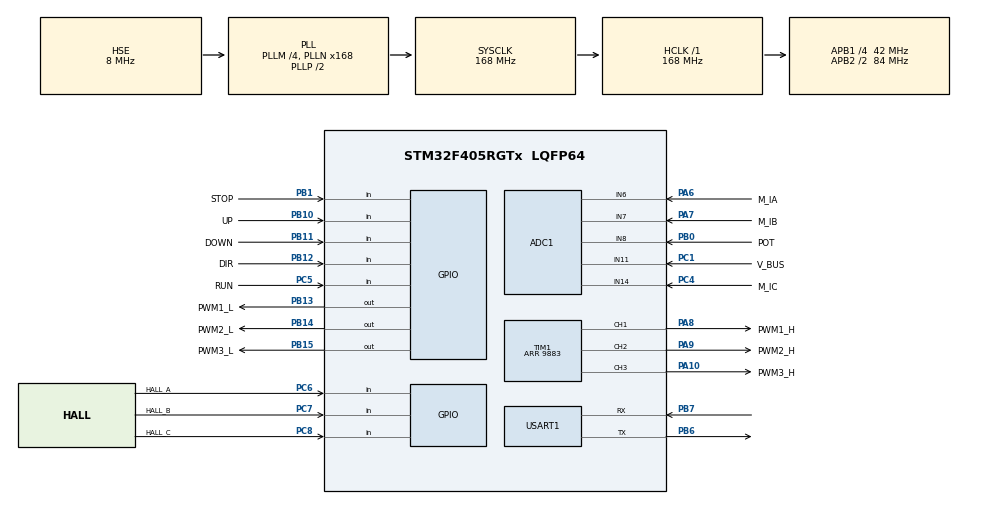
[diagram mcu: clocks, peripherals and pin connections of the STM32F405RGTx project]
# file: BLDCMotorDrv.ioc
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ADC1.Channel-10\#ChannelRegularConversion=ADC_CHANNEL_14
ADC1.Channel-6\#ChannelRegularConversion=ADC_CHANNEL_6
ADC1.Channel-7\#ChannelRegularConversion=ADC_CHANNEL_7
ADC1.Channel-8\#ChannelRegularConversion=ADC_CHANNEL_8
ADC1.Channel-9\#ChannelRegularConversion=ADC_CHANNEL_11
ADC1.ContinuousConvMode=ENABLE
ADC1.DMAContinuousRequests=ENABLE
ADC1.NbrOfConversion=5
ADC1.NbrOfConversionFlag=1
ADC1.Rank-10\#ChannelRegularConversion=5
ADC1.Rank-6\#ChannelRegularConversion=1
ADC1.Rank-7\#ChannelRegularConversion=2
ADC1.Rank-8\#ChannelRegularConversion=3
ADC1.Rank-9\#ChannelRegularConversion=4
ADC1.SamplingTime-10\#ChannelRegularConversion=ADC_SAMPLETIME_3CYCLES
ADC1.SamplingTime-6\#ChannelRegularConversion=ADC_SAMPLETIME_3CYCLES
ADC1.SamplingTime-7\#ChannelRegularConversion=ADC_SAMPLETIME_3CYCLES
ADC1.SamplingTime-8\#ChannelRegularConversion=ADC_SAMPLETIME_3CYCLES
ADC1.SamplingTime-9\#ChannelRegularConversion=ADC_SAMPLETIME_3CYCLES
ADC1.ScanConvMode=ENABLE
ADC1.master=1
Dma.ADC1.0.Direction=DMA_PERIPH_TO_MEMORY
Dma.ADC1.0.FIFOMode=DMA_FIFOMODE_DISABLE
Dma.ADC1.0.Instance=DMA2_Stream0
Dma.ADC1.0.MemDataAlignment=DMA_MDATAALIGN_HALFWORD
Dma.ADC1.0.MemInc=DMA_MINC_ENABLE
Dma.ADC1.0.Mode=DMA_CIRCULAR
Dma.ADC1.0.PeriphDataAlignment=DMA_PDATAALIGN_HALFWORD
Dma.ADC1.0.PeriphInc=DMA_PINC_DISABLE
Dma.ADC1.0.Priority=DMA_PRIORITY_HIGH
Dma.Request0=ADC1
Mcu.Family=STM32F4
Mcu.Name=STM32F405RGTx
Mcu.Package=LQFP64
NVIC.ADC_IRQn=true\:0\:0\:false\:false\:true\:true\:true
NVIC.DMA2_Stream0_IRQn=true\:2\:0\:true\:false\:true\:false\:true
NVIC.PriorityGroup=NVIC_PRIORITYGROUP_4
NVIC.TIM1_UP_TIM10_IRQn=true\:0\:0\:false\:false\:true\:true\:true
PA10.GPIO_Label=PWM3_H
PA10.GPIO_Speed=GPIO_SPEED_FREQ_HIGH
PA10.Signal=S_TIM1_CH3
PA13.Mode=Serial_Wire
PA13.Signal=SYS_JTMS-SWDIO
PA14.Mode=Serial_Wire
PA14.Signal=SYS_JTCK-SWCLK
PA6.GPIO_Label=M_IA
PA6.Signal=ADCx_IN6
PA7.GPIO_Label=M_IB
PA7.Signal=ADCx_IN7
PA8.GPIO_Label=PWM1_H
PA8.GPIO_Speed=GPIO_SPEED_FREQ_HIGH
PA8.Signal=S_TIM1_CH1
PA9.GPIO_Label=PWM2_H
PA9.GPIO_Speed=GPIO_SPEED_FREQ_HIGH
PA9.Signal=S_TIM1_CH2
PB0.GPIO_Label=POT
PB0.Signal=ADCx_IN8
PB1.GPIO_Label=STOP
PB1.GPIO_PuPd=GPIO_PULLUP
PB1.Signal=GPIO_Input
PB10.GPIO_Label=UP
PB10.GPIO_PuPd=GPIO_PULLUP
PB10.Signal=GPIO_Input
PB11.GPIO_Label=DOWN
PB11.GPIO_PuPd=GPIO_PULLUP
PB11.Signal=GPIO_Input
PB12.GPIO_Label=DIR
PB12.GPIO_PuPd=GPIO_PULLUP
PB12.Signal=GPIO_Input
PB13.GPIO_Label=PWM1_L
PB13.GPIO_Speed=GPIO_SPEED_FREQ_HIGH
PB13.Signal=GPIO_Output
PB14.GPIO_Label=PWM2_L
PB14.GPIO_Speed=GPIO_SPEED_FREQ_HIGH
PB14.Signal=GPIO_Output
PB15.GPIO_Label=PWM3_L
PB15.GPIO_Speed=GPIO_SPEED_FREQ_HIGH
PB15.Signal=GPIO_Output
PB6.Mode=Asynchronous
PB6.Signal=USART1_TX
PB7.Mode=Asynchronous
PB7.Signal=USART1_RX
PC1.GPIO_Label=V_BUS
PC1.Signal=ADCx_IN11
PC4.GPIO_Label=M_IC
PC4.Signal=ADCx_IN14
PC5.GPIO_Label=RUN
PC5.GPIO_PuPd=GPIO_PULLUP
PC5.Signal=GPIO_Input
PC6.GPIO_Label=HALL_A
PC6.GPIO_PuPd=GPIO_PULLUP
PC6.Signal=GPIO_Input
PC7.GPIO_Label=HALL_B
PC7.GPIO_PuPd=GPIO_PULLUP
PC7.Signal=GPIO_Input
PC8.GPIO_Label=HALL_C
PC8.GPIO_PuPd=GPIO_PULLUP
PC8.Signal=GPIO_Input
PH0-OSC_IN.Mode=HSE-External-Oscillator
PH0-OSC_IN.Signal=RCC_OSC_IN
PH1-OSC_OUT.Mode=HSE-External-Oscillator
PH1-OSC_OUT.Signal=RCC_OSC_OUT
ProjectManager.HeapSize=0x200
ProjectManager.StackSize=0x400
ProjectManager.TargetToolchain=Makefile
RCC.48MHZClocksFreq_Value=84000000
RCC.AHBFreq_Value=168000000
RCC.APB1CLKDivider=RCC_HCLK_DIV4
RCC.APB1Freq_Value=42000000
RCC.APB1TimFreq_Value=84000000
RCC.APB2CLKDivider=RCC_HCLK_DIV2
RCC.APB2Freq_Value=84000000
RCC.APB2TimFreq_Value=168000000
RCC.CortexFreq_Value=168000000
RCC.EnbaleCSS=true
RCC.HCLKFreq_Value=168000000
RCC.HSE_VALUE=8000000
RCC.HSI_VALUE=16000000
RCC.LSE_VALUE=32768
RCC.PLLM=4
RCC.PLLN=168
RCC.PLLSourceVirtual=RCC_PLLSOURCE_HSE
RCC.SYSCLKFreq_VALUE=168000000
RCC.SYSCLKSource=RCC_SYSCLKSOURCE_PLLCLK
RCC.VCOOutputFreq_Value=336000000
SH.ADCx_IN11.0=ADC1_IN11,IN11
SH.ADCx_IN14.0=ADC1_IN14,IN14
SH.ADCx_IN6.0=ADC1_IN6,IN6
SH.ADCx_IN7.0=ADC1_IN7,IN7
SH.ADCx_IN8.0=ADC1_IN8,IN8
SH.S_TIM1_CH1.0=TIM1_CH1,PWM Generation1 CH1
SH.S_TIM1_CH2.0=TIM1_CH2,PWM Generation2 CH2
SH.S_TIM1_CH3.0=TIM1_CH3,PWM Generation3 CH3
TIM1.Channel-PWM\ Generation1\ CH1=TIM_CHANNEL_1
TIM1.Channel-PWM\ Generation2\ CH2=TIM_CHANNEL_2
TIM1.Channel-PWM\ Generation3\ CH3=TIM_CHANNEL_3
TIM1.Period=9883
USART1.VirtualMode=VM_ASYNC
board=custom

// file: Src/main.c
/* USER CODE BEGIN Header */
/**
  ******************************************************************************
  * @file           : main.c
  * @brief          : Main program body
  ******************************************************************************
  * @attention
  *
  * <h2><center>&copy; Copyright (c) 2019 STMicroelectronics.
  * All rights reserved.</center></h2>
  *
  * This software component is licensed by ST under BSD 3-Clause license,
  * the "License"; You may not use this file except in compliance with the
  * License. You may obtain a copy of the License at:
  *                        opensource.org/licenses/BSD-3-Clause
  *
  ******************************************************************************
  */
/* USER CODE END Header */

#include "main.h"
#include "adc.h"
#include "dma.h"
#include "tim.h"
#include "usart.h"
#include "gpio.h"

/* USER CODE BEGIN Includes */
#include "myprint.h"
#include "bldc.h"
#include "keyscan.h"
/* USER CODE END Includes */

/* USER CODE BEGIN PV */
extern HALL hallTree;
extern STATE stateContr;
extern PIDREG_T piSpd;
extern PIDREG_T piICurr;
extern ADCSamp ADCSampPare;
extern volatile uint16_t ADC_DualConvertValTab[5];
uint16_t tempTIMValue = 0;
/* USER CODE END PV */

void SystemClock_Config(void);

int main(void)
{

  /* MCU Configuration--------------------------------------------------------*/

  /* Reset of all peripherals, Initializes the Flash interface and the Systick. */
  HAL_Init();

  /* Configure the system clock */
  SystemClock_Config();

  /* Initialize all configured peripherals */
  MX_GPIO_Init();
  MX_DMA_Init();
  MX_ADC1_Init();
  MX_USART1_UART_Init();
  MX_TIM1_Init();
  /* USER CODE BEGIN 2 */
  HAL_TIM_PWM_MspInit(&htim1);
  PID_Init();
  threeHallPara_Init();
  BLDCInit();
  /* USER CODE END 2 */
  /* Infinite loop */
  while (1)
  {

    /* USER CODE BEGIN 3 */
  #if 1
    HAL_Delay(20);
    myPrint("IBUS:%d %f %f %f\r\n",ADCSampPare.busCurr,piICurr.outF,piSpd.outF,piICurr.ref);
    //tempTIMValue = (TIM1->CCR1 > 5) ? TIM1->CCR1 : tempTIMValue;
    //myPrint("CURRENT UVW IS :%d %d %d\r\n",ADCSampPare.phaseUCurr,ADCSampPare.phaseVCurr,ADCSampPare.phaseWCurr);
    keyScan();
#endif
  }
  /* USER CODE END 3 */
}

void SystemClock_Config(void)
{
  RCC_OscInitTypeDef RCC_OscInitStruct = {0};
  RCC_ClkInitTypeDef RCC_ClkInitStruct = {0};

  /** Configure the main internal regulator output voltage
  */
  __HAL_RCC_PWR_CLK_ENABLE();
  __HAL_PWR_VOLTAGESCALING_CONFIG(PWR_REGULATOR_VOLTAGE_SCALE1);
  /** Initializes the CPU, AHB and APB busses clocks
  */
  RCC_OscInitStruct.OscillatorType = RCC_OSCILLATORTYPE_HSE;
  RCC_OscInitStruct.HSEState = RCC_HSE_ON;
  RCC_OscInitStruct.PLL.PLLState = RCC_PLL_ON;
  RCC_OscInitStruct.PLL.PLLSource = RCC_PLLSOURCE_HSE;
  RCC_OscInitStruct.PLL.PLLM = 4;
  RCC_OscInitStruct.PLL.PLLN = 168;
  RCC_OscInitStruct.PLL.PLLP = RCC_PLLP_DIV2;
  RCC_OscInitStruct.PLL.PLLQ = 4;
  if (HAL_RCC_OscConfig(&RCC_OscInitStruct) != HAL_OK)
  {
    Error_Handler();
  }
  /** Initializes the CPU, AHB and APB busses clocks
  */
  RCC_ClkInitStruct.ClockType = RCC_CLOCKTYPE_HCLK | RCC_CLOCKTYPE_SYSCLK | RCC_CLOCKTYPE_PCLK1 | RCC_CLOCKTYPE_PCLK2;
  RCC_ClkInitStruct.SYSCLKSource = RCC_SYSCLKSOURCE_PLLCLK;
  RCC_ClkInitStruct.AHBCLKDivider = RCC_SYSCLK_DIV1;
  RCC_ClkInitStruct.APB1CLKDivider = RCC_HCLK_DIV4;
  RCC_ClkInitStruct.APB2CLKDivider = RCC_HCLK_DIV2;

  if (HAL_RCC_ClockConfig(&RCC_ClkInitStruct, FLASH_LATENCY_5) != HAL_OK)
  {
    Error_Handler();
  }
  /** Enables the Clock Security System
  */
  HAL_RCC_EnableCSS();
}

void Error_Handler(void)
{
}

/************************ (C) COPYRIGHT STMicroelectronics *****END OF FILE****/
